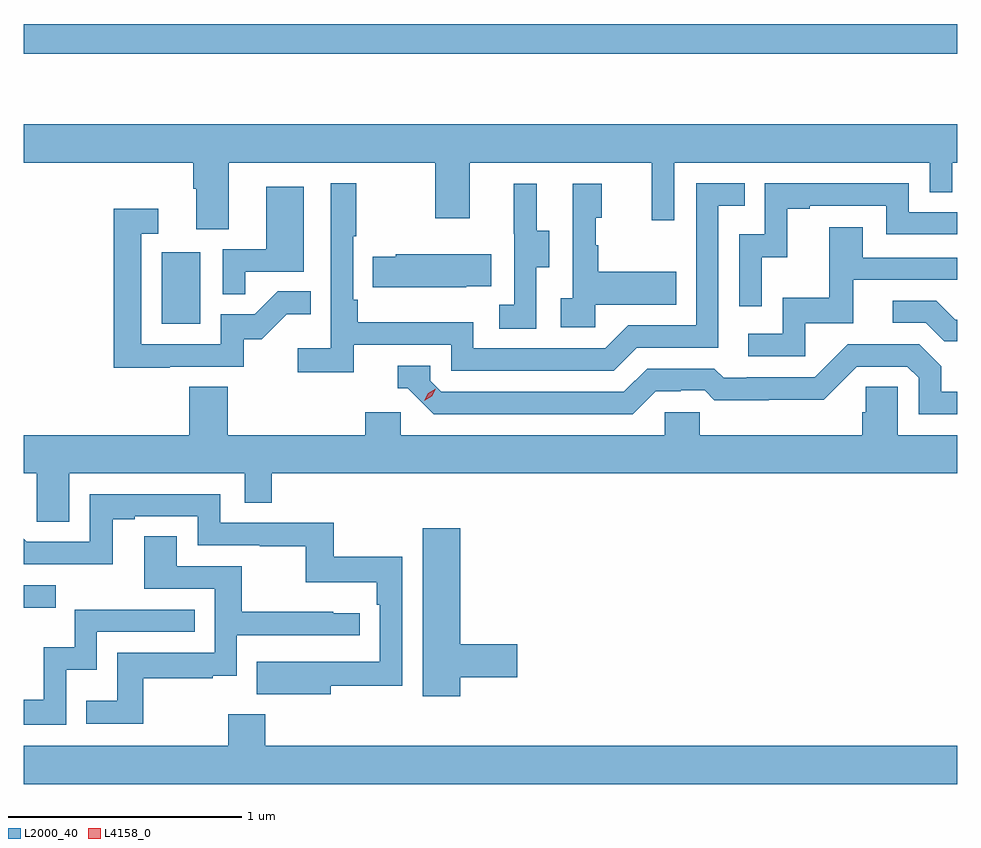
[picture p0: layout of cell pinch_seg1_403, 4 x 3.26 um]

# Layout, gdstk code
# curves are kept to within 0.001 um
import gdstk
lib = gdstk.Library(unit=1e-6, precision=1e-09)
def R(c, l, rs):  # rectangles x0, y0, x1, y1
    for r in rs: c.add(gdstk.rectangle(r[:2], r[2:], *l))
def P(c, l, *ps):  # polygons
    for p in ps: c.add(gdstk.Polygon(p, *l))
L2000_40 = (2000, 40)
L4158_0 = (4158, 0)

pinch_seg1_403 = lib.new_cell('pinch_seg1_403')
R(pinch_seg1_403, L2000_40, [(933.293,529.844,933.43,529.941), (933.884,531.06,934.048,531.367), (933.293,532.218,937.293,532.346)])
P(pinch_seg1_403, L2000_40, [(934.171,531.752),(935.056,531.752),(935.056,531.513),(935.203,531.513),(935.203,531.752),(935.984,531.752),(935.984,531.504),(936.081,531.504),(936.081,531.752),(937.176,531.752),(937.176,531.625),(937.272,531.625),(937.272,531.752),(937.293,531.752),(937.293,531.916),(933.293,531.916),(933.293,531.752),(934.019,531.752),(934.019,531.64),(934.031,531.64),(934.031,531.466),(934.171,531.466)],
  [(934.706,530.97),(935.124,530.97),(935.124,530.859),(935.821,530.859),(935.92,530.958),(936.27,530.958),(936.27,531.567),(936.383,531.567),(936.383,531.663),(936.174,531.663),(936.174,531.054),(935.883,531.054),(935.784,530.955),(935.22,530.955),(935.22,531.067),(934.724,531.067),(934.724,531.163),(934.704,531.163),(934.704,531.436),(934.717,531.436),(934.717,531.664),(934.608,531.664),(934.608,530.956),(934.467,530.956),(934.467,530.854),(934.706,530.854)],
  [(936.456,531.347),(936.566,531.347),(936.566,531.555),(936.661,531.555),(936.661,531.567),(936.99,531.567),(936.99,531.444),(937.293,531.444),(937.293,531.54),(937.086,531.54),(937.086,531.663),(936.468,531.663),(936.468,531.444),(936.36,531.444),(936.36,531.135),(936.456,531.135)],
  [(935.742,531.143),(936.089,531.143),(936.089,531.283),(935.755,531.283),(935.755,531.398),(935.745,531.398),(935.745,531.516),(935.77,531.516),(935.77,531.661),(935.646,531.661),(935.646,531.17),(935.595,531.17),(935.595,531.045),(935.742,531.045)],
  [(935.49,531.304),(935.545,531.304),(935.545,531.459),(935.491,531.459),(935.491,531.661),(935.393,531.661),(935.393,531.447),(935.394,531.447),(935.394,531.143),(935.331,531.143),(935.331,531.04),(935.49,531.04)],
  [(934.241,531.285),(934.492,531.285),(934.492,531.649),(934.331,531.649),(934.331,531.381),(934.146,531.381),(934.146,531.187),(934.241,531.187)],
  [(933.917,530.877),(934.236,530.877),(934.236,530.994),(934.312,530.994),(934.419,531.101),(934.523,531.101),(934.523,531.2),(934.38,531.2),(934.282,531.102),(934.137,531.102),(934.137,530.973),(933.795,530.973),(933.795,531.447),(933.868,531.447),(933.868,531.553),(933.679,531.553),(933.679,530.872),(933.917,530.872)],
  [(936.642,531.063),(936.847,531.063),(936.847,531.249),(937.293,531.249),(937.293,531.345),(936.889,531.345),(936.889,531.475),(936.745,531.475),(936.745,531.172),(936.546,531.172),(936.546,531.018),(936.399,531.018),(936.399,530.922),(936.642,530.922)],
  [(935.189,531.221),(935.297,531.221),(935.297,531.358),(934.887,531.358),(934.887,531.348),(934.789,531.348),(934.789,531.218),(935.189,531.218)],
  [(937.293,531.078),(937.285,531.078),(937.204,531.159),(937.017,531.159),(937.017,531.066),(937.158,531.066),(937.238,530.986),(937.293,530.986)],
  [(936.001,530.772),(936.108,530.772),(936.108,530.775),(936.211,530.775),(936.253,530.733),(936.486,530.733),(936.486,530.735),(936.722,530.735),(936.864,530.877),(937.08,530.877),(937.128,530.829),(937.128,530.673),(937.293,530.673),(937.293,530.769),(937.225,530.769),(937.225,530.879),(937.131,530.973),(936.825,530.973),(936.684,530.832),(936.391,530.832),(936.391,530.829),(936.292,530.829),(936.253,530.868),(935.964,530.868),(935.865,530.769),(935.082,530.769),(935.034,530.817),(935.034,530.88),(934.895,530.88),(934.895,530.784),(934.938,530.784),(935.049,530.673),(935.902,530.673)],
  [(933.487,530.42),(934.239,530.42),(934.239,530.293),(934.355,530.293),(934.355,530.42),(937.293,530.42),(937.293,530.584),(937.038,530.584),(937.038,530.792),(936.901,530.792),(936.901,530.682),(936.887,530.682),(936.887,530.584),(936.189,530.584),(936.189,530.682),(936.039,530.682),(936.039,530.584),(934.908,530.584),(934.908,530.682),(934.757,530.682),(934.757,530.584),(934.166,530.584),(934.166,530.792),(934.001,530.792),(934.001,530.584),(933.293,530.584),(933.293,530.42),(933.348,530.42),(933.348,530.212),(933.487,530.212)],
  [(934.609,529.51),(934.914,529.51),(934.914,530.062),(934.621,530.062),(934.621,530.208),(934.134,530.208),(934.134,530.331),(933.576,530.331),(933.576,530.127),(933.306,530.127),(933.293,530.14),(933.293,530.031),(933.673,530.03),(933.673,530.223),(933.769,530.223),(933.769,530.235),(934.038,530.235),(934.038,530.112),(934.303,530.112),(934.303,530.107),(934.5,530.107),(934.5,529.952),(934.805,529.952),(934.805,529.856),(934.818,529.856),(934.818,529.611),(934.291,529.612),(934.291,529.472),(934.609,529.472)],
  [(935.164,529.546),(935.407,529.546),(935.407,529.688),(935.164,529.688),(935.164,530.185),(935.003,530.185),(935.003,529.464),(935.164,529.464)],
  [(933.805,529.542),(934.103,529.542),(934.103,529.553),(934.206,529.553),(934.206,529.725),(934.732,529.725),(934.732,529.821),(934.619,529.821),(934.619,529.826),(934.226,529.826),(934.226,530.022),(933.949,530.022),(933.949,530.15),(933.809,530.15),(933.809,529.926),(934.11,529.926),(934.11,529.65),(933.694,529.65),(933.694,529.444),(933.559,529.444),(933.559,529.347),(933.805,529.347)],
  [(933.474,529.577),(933.606,529.577),(933.606,529.74),(934.025,529.74),(934.025,529.836),(933.51,529.836),(933.51,529.675),(933.377,529.675),(933.377,529.45),(933.293,529.45),(933.293,529.341),(933.474,529.341)],
  [(937.293,529.252),(934.328,529.252),(934.328,529.387),(934.168,529.387),(934.168,529.252),(933.293,529.252),(933.293,529.088),(937.293,529.088)])
P(pinch_seg1_403, L4158_0, [(935.01,530.732),(935.01,530.732),(935.027,530.764),(935.058,530.783),(935.058,530.783),(935.058,530.783),(935.041,530.751),(935.01,530.732)])

lib.write_gds('pinch_seg1_403.gds')
